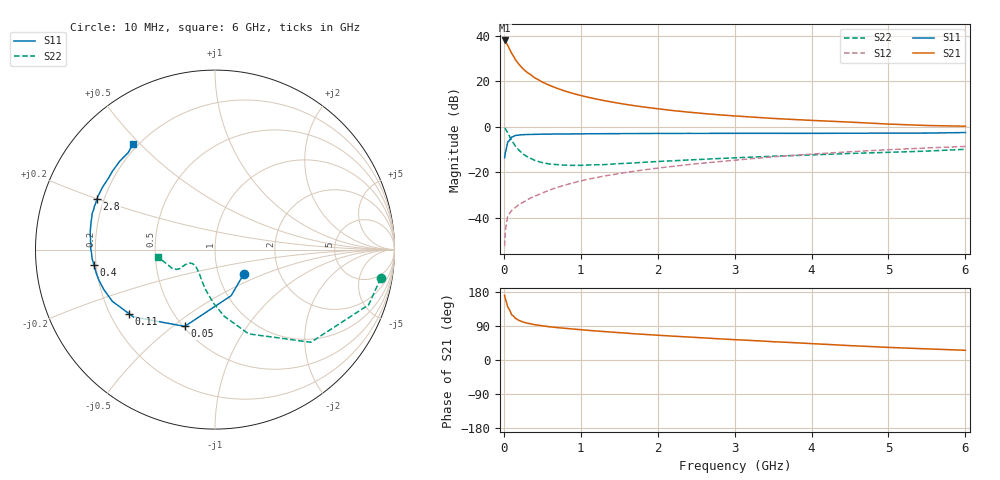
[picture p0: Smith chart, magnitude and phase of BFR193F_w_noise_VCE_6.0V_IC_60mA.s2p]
! Infineon Technologies  Discrete & RF Semiconductors
! BFR193F
! VCE =  6.0 V,  IC =  60 mA
! Common Emitter S-Parameters:  Jan 2017
# GHz  S  MA  R  50
!  f  S11  S21  S12  S22
! GHz  MAG  ANG  MAG  ANG  MAG  ANG  MAG  ANG
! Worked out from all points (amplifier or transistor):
!   77 points, 10 MHz to 6 GHz, reference 50 ohm
!   highest |S21| = 37.8 dB at 10 MHz (marker M1)
!   |S21| within 3 dB of that: start of sweep to 63.23 MHz
!   unconditionally stable (mu >= 1): 768.1 MHz to 2.487 GHz
!   at 130 MHz: K = 0.52, MSG = 33.3 dB, |S12| = -36.0 dB
!   at 2.2 GHz: K = 1.01, MAG = 11.5 dB, |S12| = -17.4 dB
!   at 6 GHz: K = 0.86, MSG = 4.4 dB, |S12| = -8.7 dB
!   lowest NFmin = 1.64 dB at 450 MHz
!   S11 on the Smith chart (normalised r, x): 10 MHz: 1.32, -0.37; 50 MHz: 0.51, -0.55; 110 MHz: 0.28, -0.31; 400 MHz: 0.19, -0.06; 2.8 GHz: 0.17, +0.20; 6 GHz: 0.18, +0.48
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0.01  0.2098 -40.1  77.89 170.6  0.0024 89.5  0.9366 -9.8
0.02  0.272 -70.6  75.08 161.3  0.0051 76.8  0.9101 -19.7
0.05  0.4597 -111.5  60.97 139.9  0.0106 63.3  0.7431 -44.0
0.1  0.5894 -140.5  41.02 119.8  0.0145 53.2  0.5058 -68.2
0.11  0.5971 -143.2  38.68 118.3  0.015 53.3  0.4778 -70.4
0.15  0.6401 -153.2  29.64 110.1  0.0169 53.6  0.3752 -82.1
0.2  0.6582 -160.2  22.93 104.1  0.02 56.2  0.3013 -91.2
0.25  0.6687 -165.2  18.6 100.2  0.022 58.4  0.251 -98.8
0.3  0.6739 -168.4  15.67 97.4  0.0248 60.7  0.2219 -104.8
0.4  0.6801 -172.9  11.86 93.0  0.0298 64.0  0.1831 -114.4
0.5  0.6863 -175.8  9.543 90.2  0.0351 67.7  0.163 -121.9
0.6  0.6883 -178.4  7.99 87.5  0.0412 69.6  0.1518 -128.2
0.7  0.6922 179.5  6.868 85.4  0.047 70.4  0.147 -132.8
0.9  0.6958 176.2  5.361 81.7  0.0586 72.9  0.1419 -140.4
1.1  0.7001 173.4  4.407 78.2  0.0707 73.6  0.1448 -144.8
1.5  0.7051 168.7  3.26 72.2  0.0941 74.3  0.1551 -150.5
2.1  0.7125 162.8  2.366 64.2  0.1293 73.8  0.1758 -153.1
2.8  0.7156 156.9  1.821 55.9  0.1718 72.5  0.2006 -152.8
3.1  0.7162 154.5  1.681 52.7  0.1905 71.9  0.2111 -151.8
4.1  0.7152 145.8  1.352 42.2  0.2569 67.6  0.2439 -153.3
5.1  0.7238 136.1  1.126 32.5  0.3187 61.9  0.2777 -162.5
6  0.7454 127.7  1.026 25.6  0.3689 56.6  0.3198 -172.2
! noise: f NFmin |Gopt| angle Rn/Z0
0.45  1.64  0.49  -178  0.08
0.9  1.73  0.5  -177  0.09
1.9  2.33  0.61  -162  0.1
2.4  2.66  0.62  -155  0.17
